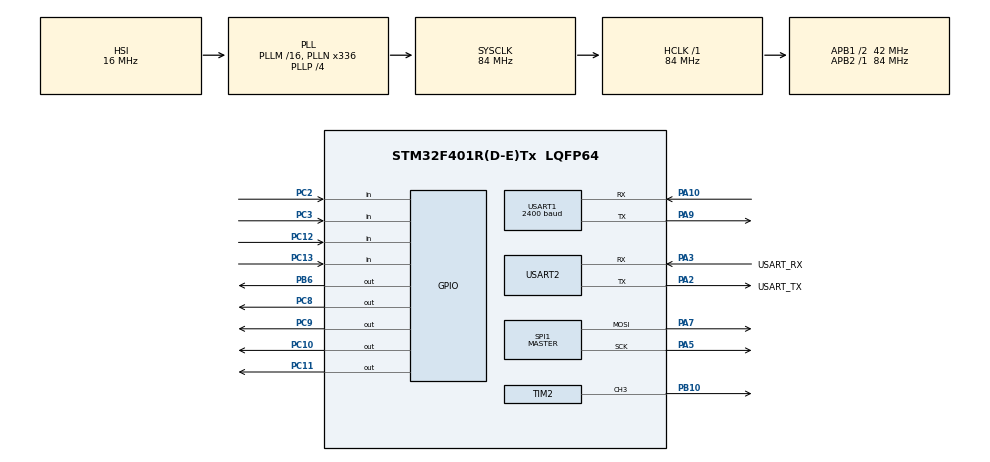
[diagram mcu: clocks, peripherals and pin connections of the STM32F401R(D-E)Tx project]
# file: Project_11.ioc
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Mcu.Family=STM32F4
Mcu.Name=STM32F401R(D-E)Tx
Mcu.Package=LQFP64
NVIC.PriorityGroup=NVIC_PRIORITYGROUP_0
NVIC.SPI1_IRQn=true\:0\:0\:false\:false\:true\:true\:true\:true
NVIC.TIM2_IRQn=true\:0\:0\:false\:false\:true\:true\:true\:true
NVIC.TIM3_IRQn=true\:0\:0\:false\:false\:true\:true\:true\:true
NVIC.TIM4_IRQn=true\:0\:0\:false\:false\:true\:true\:true\:true
NVIC.TIM5_IRQn=true\:0\:0\:false\:false\:true\:true\:true\:true
NVIC.USART1_IRQn=true\:0\:0\:false\:false\:true\:true\:true\:true
PA10.Mode=Asynchronous
PA10.Signal=USART1_RX
PA13.GPIO_Label=TMS
PA13.Mode=Serial_Wire
PA13.Signal=SYS_JTMS-SWDIO
PA14.GPIO_Label=TCK
PA14.Mode=Serial_Wire
PA14.Signal=SYS_JTCK-SWCLK
PA2.GPIO_Label=USART_TX
PA2.GPIO_Mode=GPIO_MODE_AF_PP
PA2.GPIO_PuPd=GPIO_NOPULL
PA2.GPIO_Speed=GPIO_SPEED_FREQ_LOW
PA2.Mode=Asynchronous
PA2.Signal=USART2_TX
PA3.GPIO_Label=USART_RX
PA3.GPIO_Mode=GPIO_MODE_AF_PP
PA3.GPIO_PuPd=GPIO_NOPULL
PA3.GPIO_Speed=GPIO_SPEED_FREQ_LOW
PA3.Mode=Asynchronous
PA3.Signal=USART2_RX
PA5.Mode=TX_Only_Simplex_Unidirect_Master
PA5.Signal=SPI1_SCK
PA7.Mode=TX_Only_Simplex_Unidirect_Master
PA7.Signal=SPI1_MOSI
PA9.Mode=Asynchronous
PA9.Signal=USART1_TX
PB10.Signal=S_TIM2_CH3
PB3.GPIO_Label=SWO
PB3.Signal=SYS_JTDO-SWO
PB6.Signal=GPIO_Output
PC10.Signal=GPIO_Output
PC11.Signal=GPIO_Output
PC12.Signal=GPIO_Input
PC13-ANTI_TAMP.Signal=GPIO_Input
PC14-OSC32_IN.Mode=LSE-External-Oscillator
PC14-OSC32_IN.Signal=RCC_OSC32_IN
PC15-OSC32_OUT.Mode=LSE-External-Oscillator
PC15-OSC32_OUT.Signal=RCC_OSC32_OUT
PC2.Signal=GPIO_Input
PC3.Signal=GPIO_Input
PC8.Signal=GPIO_Output
PC9.Signal=GPIO_Output
PH0\ -\ OSC_IN.Mode=HSE-External-Clock-Source
PH0\ -\ OSC_IN.Signal=RCC_OSC_IN
PH1\ -\ OSC_OUT.Mode=HSE-External-Clock-Source
PH1\ -\ OSC_OUT.Signal=RCC_OSC_OUT
ProjectManager.HeapSize=0x200
ProjectManager.StackSize=0x400
ProjectManager.TargetToolchain=STM32CubeIDE
RCC.48MHZClocksFreq_Value=48000000
RCC.AHBFreq_Value=84000000
RCC.APB1CLKDivider=RCC_HCLK_DIV2
RCC.APB1Freq_Value=42000000
RCC.APB1TimFreq_Value=84000000
RCC.APB2Freq_Value=84000000
RCC.APB2TimFreq_Value=84000000
RCC.CortexFreq_Value=84000000
RCC.HCLKFreq_Value=84000000
RCC.HSE_VALUE=8000000
RCC.HSI_VALUE=16000000
RCC.PLLN=336
RCC.PLLP=RCC_PLLP_DIV4
RCC.PLLQ=7
RCC.SYSCLKFreq_VALUE=84000000
RCC.SYSCLKSource=RCC_SYSCLKSOURCE_PLLCLK
RCC.VCOOutputFreq_Value=336000000
SH.S_TIM2_CH3.0=TIM2_CH3,PWM Generation3 CH3
SPI1.BaudRatePrescaler=SPI_BAUDRATEPRESCALER_4
SPI1.Direction=SPI_DIRECTION_2LINES
SPI1.Mode=SPI_MODE_MASTER
SPI1.VirtualType=VM_MASTER
TIM2.Channel-PWM\ Generation3\ CH3=TIM_CHANNEL_3
TIM2.Period=2209
TIM2.Pulse-PWM\ Generation3\ CH3=1104
TIM3.Period=999
TIM3.Prescaler=34
TIM4.Period=39
TIM4.Prescaler=8399
TIM5.Period=499
TIM5.Prescaler=839
USART1.BaudRate=2400
USART1.VirtualMode=VM_ASYNC
USART2.VirtualMode=VM_ASYNC
VP_TIM2_VS_ClockSourceINT.Mode=Internal
VP_TIM3_VS_ClockSourceINT.Mode=Internal
VP_TIM4_VS_ClockSourceINT.Mode=Internal
VP_TIM5_VS_ClockSourceINT.Mode=Internal
board=NUCLEO-F401RE

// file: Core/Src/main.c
/* USER CODE BEGIN Header */
/**
  ******************************************************************************
  * @file           : main.c
  * @brief          : Main program body
  ******************************************************************************
  * @attention
  *
  * Copyright (c) 2023 STMicroelectronics.
  * All rights reserved.
  *
  * This software is licensed under terms that can be found in the LICENSE file
  * in the root directory of this software component.
  * If no LICENSE file comes with this software, it is provided AS-IS.
  *
  ******************************************************************************
  */
/* USER CODE END Header */
#include "main.h"

/* USER CODE BEGIN Includes */
#define DIM_ROWS 4
#define DIM_COLS 4
#define DIM_STRING 100
#define DEBOUNCING_THRESHOLD 5
/* USER CODE END Includes */

SPI_HandleTypeDef hspi1;

TIM_HandleTypeDef htim2;
TIM_HandleTypeDef htim3;
TIM_HandleTypeDef htim4;
TIM_HandleTypeDef htim5;

UART_HandleTypeDef huart1;
UART_HandleTypeDef huart2;

/* USER CODE BEGIN PV */
//Receive buffer
uint8_t rx_buf;

//Index of columns and pointer to letter matrix
int led_matrix_column = 0;
uint8_t *matrix = NULL;

//Letters
uint8_t Zero[5][2] ={
	{62,16},
	{65,8},
	{65,4},
	{65,2},
	{62,1}
};

uint8_t One[5][2] ={
	{0,16},
	{17,8},
	{63,4},
	{127,2},
	{1,1}
};

uint8_t Two[5][2] ={
	{33,16},
	{67,8},
	{69,4},
	{73,2},
	{49,1}
};

uint8_t Three[5][2] ={
	{65,16},
	{73,8},
	{73,4},
	{73,2},
	{62,1}
};

uint8_t Four[5][2] ={
	{8,16},
	{24,8},
	{40,4},
	{127,2},
	{8,1}
};
uint8_t Five[5][2] ={
	{113,16},
	{81,8},
	{81,4},
	{81,2},
	{78,1}
};
uint8_t Six[5][2] ={
	{62,16},
	{73,8},
	{73,4},
	{73,2},
	{70,1}
};
uint8_t Seven[5][2] ={
	{64,16},
	{64,8},
	{72,4},
	{127,2},
	{8,1}
};
uint8_t Eight[5][2] ={
	{38,16},
	{89,8},
	{89,4},
	{89,2},
	{38,1}
};
uint8_t Nine[5][2] ={
	{49,16},
	{73,8},
	{73,4},
	{73,2},
	{62,1}
};
uint8_t a[5][2] ={
	{31,16},
	{36,8},
	{68,4},
	{36,2},
	{31,1}
};

uint8_t b[5][2] ={
	{127,16},
	{81,8},
	{81,4},
	{89,2},
	{38,1}
};
uint8_t c[5][2] ={
	{62,16},
	{65,8},
	{65,4},
	{65,2},
	{34,1}
};
uint8_t d[5][2] ={
	{127,16},
	{65,8},
	{65,4},
	{34,2},
	{28,1}
};
uint8_t e[5][2] ={
	{127,16},
	{73,8},
	{73,4},
	{73,2},
	{65,1}
};
uint8_t f[5][2] ={
	{127,16},
	{72,8},
	{72,4},
	{72,2},
	{64,1}
};
uint8_t clean[5][2] ={
	{0,16},
	{0,8},
	{0,4},
	{0,2},
	{0,1}
};
//Same as homework 9
// relative to GPIO_C
int rows[DIM_ROWS] = {GPIO_PIN_12, GPIO_PIN_13,GPIO_PIN_2, GPIO_PIN_3}; // to read from
// relative to GPIO_C
int cols[DIM_ROWS] = {GPIO_PIN_8,GPIO_PIN_9 , GPIO_PIN_10, GPIO_PIN_11}; // to write on

// out buffer
char str_buffer[DIM_STRING];
int str_buffer_len=0;

// History = 0: button not currently pressed since when I notice not pressed I set zero
// History > 1: button currently pressed since each time I press it I increment the value
// To avoid debouncing
uint16_t history[16];

// keep track of the last activated column (in previous timer callback)
int keybordCurrentColumn;

// where to store the last GPIO Read
uint16_t buttonState;

int bit;
int isEnd = 0;
int isStart = 0;
int byteToSend;
int i = 0;

/* USER CODE END PV */

void SystemClock_Config(void);
static void MX_GPIO_Init(void);
static void MX_USART2_UART_Init(void);
static void MX_SPI1_Init(void);
static void MX_TIM2_Init(void);
static void MX_USART1_UART_Init(void);
static void MX_TIM5_Init(void);
static void MX_TIM3_Init(void);
static void MX_TIM4_Init(void);
/* USER CODE BEGIN PFP */
void scanColumn();
int buttonValueFromRowColumn(int row, int column);
void sendButtonNumber(int number);
void IR_UART_Send(void);
/* USER CODE END PFP */

/* USER CODE BEGIN 0 */
int buttonValueFromRowColumn(int row, int column) {
	return row*DIM_COLS+column;
}

void scanColumn(){
	// Scan the rows for the currently active column: at the start, the column is zero
	for(int r=0; r<DIM_ROWS; r++){
		// Read the row
		buttonState = HAL_GPIO_ReadPin(GPIOC, rows[r]);

		// Update history
		if(buttonState==GPIO_PIN_RESET){
			history[buttonValueFromRowColumn(r, keybordCurrentColumn)]++;
		} else {
			history[buttonValueFromRowColumn(r, keybordCurrentColumn)] = 0;
		}

		// If button pressing history reached the DEBOUNCING_THRESHOLD, SEND IT
		if(history[buttonValueFromRowColumn(r, keybordCurrentColumn)]==DEBOUNCING_THRESHOLD) {
			sendButtonNumber(buttonValueFromRowColumn(r, keybordCurrentColumn));
		}
	}
	// Now turn down the currently active column
	HAL_GPIO_WritePin(GPIOC, cols[keybordCurrentColumn], GPIO_PIN_RESET);
	// Pass to the next column
	keybordCurrentColumn=(keybordCurrentColumn+1)%DIM_COLS;
	// Turn on the next column so that at the next interrupt it is ready for the rows scan
	HAL_GPIO_WritePin(GPIOC, cols[keybordCurrentColumn], GPIO_PIN_SET);
}

void sendButtonNumber(int number){
	// to print from 0 to F I print 0-15 in hex: %X
	//str_buffer_len = snprintf(str_buffer, DIM_STRING, "Button %X pressed\n\r", number);
	//HAL_UART_Transmit(&huart2, str_buffer, str_buffer_len, 50);

	// set the number to send, which is the bu
	byteToSend = number;
	// send byte
	isEnd = 0;
	isStart = 1;
	IR_UART_Send();

}
void IR_UART_Send(){
	HAL_TIM_Base_Start_IT(&htim3);
}

void HAL_TIM_PeriodElapsedCallback(TIM_HandleTypeDef* htim){

	//Receive
	if(htim==&htim4){
		// This is needed in order to point to the cell of the matrix row by row
		HAL_SPI_Transmit(&hspi1, matrix+2*led_matrix_column, 2,10);
		HAL_GPIO_WritePin(GPIOB, GPIO_PIN_6, GPIO_PIN_SET);
		if(++led_matrix_column>4){
			led_matrix_column = 0;
		}
		HAL_GPIO_WritePin(GPIOB, GPIO_PIN_6, GPIO_PIN_RESET);
	}

	//Send
	if(htim==&htim3){
		//if I'm not finishing sending
		if(isEnd == 0){
			//One = PWM_Start
			//Zero = PWM_Stop
			if(isStart == 1){
				HAL_TIM_PWM_Start(&htim2, TIM_CHANNEL_3);
				isStart = 0;
			}else if(bit == 0){
				//sending a 0
				HAL_TIM_PWM_Start(&htim2, TIM_CHANNEL_3);

			}else{
				//sending a 1
				HAL_TIM_PWM_Stop(&htim2, TIM_CHANNEL_3);
			}
		} else // end of the byte
		{
			HAL_TIM_PWM_Stop(&htim2, TIM_CHANNEL_3);
			HAL_TIM_Base_Stop_IT(&htim3);
		}

		if(i < 8 && isEnd==0){
			// Take the i-th bit from the byteFromRowColumn, by shifting the byteToSend i times and making sure it's a one or a zero
			bit = (byteToSend >> i)&1;
			i ++;
		}else if (i == 8){
			// No bit left to send to send
			i++;
		}else{ // If I am done say transmission is over and reset the counter
			isEnd = 1;
			i = 0;
		}
	}

	//Timer to scan columns
	if(htim==&htim5){
		scanColumn();
	}
}

void HAL_UART_RxCpltCallback(UART_HandleTypeDef* huart){

	// Choose the matrix that will be written in the HAL_TIM_PeriodElapsedCallback
	switch(rx_buf){
		case (0x0):
			matrix = (uint8_t*) Zero;
			break;
		case (0x1):
			matrix = (uint8_t*) One;
			break;
		case (0x2):
			matrix = (uint8_t*) Two;
			break;
		case (0x3):
			matrix = (uint8_t*) Three;
			break;
		case (0x4):
			matrix = (uint8_t*) Four;
			break;
		case (0x5):
			matrix = (uint8_t*) Five;
			break;
		case (0x6):
			matrix = (uint8_t*) Six;
			break;
		case (0x7):
			matrix = (uint8_t*) Seven;
			break;
		case (0x8):
			matrix = (uint8_t*) Eight;
			break;
		case (0x9):
			matrix = (uint8_t*) Nine;
			break;
		case (0xA):
			matrix = (uint8_t*) a;
			break;
		case (0xB):
			matrix = (uint8_t*) b;
			break;
		case (0xC):
			matrix = (uint8_t*) c;
			break;
		case (0xD):
			matrix = (uint8_t*) d;
			break;
		case (0xE):
			matrix = (uint8_t*) e;
			break;
		case (0xF):
			matrix = (uint8_t*) f;
			break;
		default:
			break;
		}

	HAL_UART_Receive_IT(&huart1, &rx_buf, sizeof(rx_buf));

}

/* USER CODE END 0 */

int main(void)
{

  /* MCU Configuration--------------------------------------------------------*/

  /* Reset of all peripherals, Initializes the Flash interface and the Systick. */
  HAL_Init();

  /* Configure the system clock */
  SystemClock_Config();

  /* Initialize all configured peripherals */
  MX_GPIO_Init();
  MX_USART2_UART_Init();
  MX_SPI1_Init();
  MX_TIM2_Init();
  MX_USART1_UART_Init();
  MX_TIM5_Init();
  MX_TIM3_Init();
  MX_TIM4_Init();
  /* USER CODE BEGIN 2 */
  // Clean the led matrix
  matrix=(uint8_t*)clean;
  HAL_TIM_Base_Start_IT(&htim4);
  HAL_TIM_Base_Start_IT(&htim5);
  HAL_UART_Receive_IT(&huart1, &rx_buf, sizeof(rx_buf));
  /* USER CODE END 2 */

  /* Infinite loop */
  while (1)
  {

  }
}

void SystemClock_Config(void)
{
  RCC_OscInitTypeDef RCC_OscInitStruct = {0};
  RCC_ClkInitTypeDef RCC_ClkInitStruct = {0};

  /** Configure the main internal regulator output voltage
  */
  __HAL_RCC_PWR_CLK_ENABLE();
  __HAL_PWR_VOLTAGESCALING_CONFIG(PWR_REGULATOR_VOLTAGE_SCALE2);

  /** Initializes the RCC Oscillators according to the specified parameters
  * in the RCC_OscInitTypeDef structure.
  */
  RCC_OscInitStruct.OscillatorType = RCC_OSCILLATORTYPE_HSI;
  RCC_OscInitStruct.HSIState = RCC_HSI_ON;
  RCC_OscInitStruct.HSICalibrationValue = RCC_HSICALIBRATION_DEFAULT;
  RCC_OscInitStruct.PLL.PLLState = RCC_PLL_ON;
  RCC_OscInitStruct.PLL.PLLSource = RCC_PLLSOURCE_HSI;
  RCC_OscInitStruct.PLL.PLLM = 16;
  RCC_OscInitStruct.PLL.PLLN = 336;
  RCC_OscInitStruct.PLL.PLLP = RCC_PLLP_DIV4;
  RCC_OscInitStruct.PLL.PLLQ = 7;
  if (HAL_RCC_OscConfig(&RCC_OscInitStruct) != HAL_OK)
  {
    Error_Handler();
  }

  /** Initializes the CPU, AHB and APB buses clocks
  */
  RCC_ClkInitStruct.ClockType = RCC_CLOCKTYPE_HCLK|RCC_CLOCKTYPE_SYSCLK
                              |RCC_CLOCKTYPE_PCLK1|RCC_CLOCKTYPE_PCLK2;
  RCC_ClkInitStruct.SYSCLKSource = RCC_SYSCLKSOURCE_PLLCLK;
  RCC_ClkInitStruct.AHBCLKDivider = RCC_SYSCLK_DIV1;
  RCC_ClkInitStruct.APB1CLKDivider = RCC_HCLK_DIV2;
  RCC_ClkInitStruct.APB2CLKDivider = RCC_HCLK_DIV1;

  if (HAL_RCC_ClockConfig(&RCC_ClkInitStruct, FLASH_LATENCY_2) != HAL_OK)
  {
    Error_Handler();
  }
}

static void MX_SPI1_Init(void)
{

  /* SPI1 parameter configuration*/
  hspi1.Instance = SPI1;
  hspi1.Init.Mode = SPI_MODE_MASTER;
  hspi1.Init.Direction = SPI_DIRECTION_2LINES;
  hspi1.Init.DataSize = SPI_DATASIZE_8BIT;
  hspi1.Init.CLKPolarity = SPI_POLARITY_LOW;
  hspi1.Init.CLKPhase = SPI_PHASE_1EDGE;
  hspi1.Init.NSS = SPI_NSS_SOFT;
  hspi1.Init.BaudRatePrescaler = SPI_BAUDRATEPRESCALER_4;
  hspi1.Init.FirstBit = SPI_FIRSTBIT_MSB;
  hspi1.Init.TIMode = SPI_TIMODE_DISABLE;
  hspi1.Init.CRCCalculation = SPI_CRCCALCULATION_DISABLE;
  hspi1.Init.CRCPolynomial = 10;
  if (HAL_SPI_Init(&hspi1) != HAL_OK)
  {
    Error_Handler();
  }

}

static void MX_TIM2_Init(void)
{

  TIM_ClockConfigTypeDef sClockSourceConfig = {0};
  TIM_MasterConfigTypeDef sMasterConfig = {0};
  TIM_OC_InitTypeDef sConfigOC = {0};

  htim2.Instance = TIM2;
  htim2.Init.Prescaler = 0;
  htim2.Init.CounterMode = TIM_COUNTERMODE_UP;
  htim2.Init.Period = 2209;
  htim2.Init.ClockDivision = TIM_CLOCKDIVISION_DIV1;
  htim2.Init.AutoReloadPreload = TIM_AUTORELOAD_PRELOAD_DISABLE;
  if (HAL_TIM_Base_Init(&htim2) != HAL_OK)
  {
    Error_Handler();
  }
  sClockSourceConfig.ClockSource = TIM_CLOCKSOURCE_INTERNAL;
  if (HAL_TIM_ConfigClockSource(&htim2, &sClockSourceConfig) != HAL_OK)
  {
    Error_Handler();
  }
  if (HAL_TIM_PWM_Init(&htim2) != HAL_OK)
  {
    Error_Handler();
  }
  sMasterConfig.MasterOutputTrigger = TIM_TRGO_RESET;
  sMasterConfig.MasterSlaveMode = TIM_MASTERSLAVEMODE_DISABLE;
  if (HAL_TIMEx_MasterConfigSynchronization(&htim2, &sMasterConfig) != HAL_OK)
  {
    Error_Handler();
  }
  sConfigOC.OCMode = TIM_OCMODE_PWM1;
  sConfigOC.Pulse = 1104;
  sConfigOC.OCPolarity = TIM_OCPOLARITY_HIGH;
  sConfigOC.OCFastMode = TIM_OCFAST_DISABLE;
  if (HAL_TIM_PWM_ConfigChannel(&htim2, &sConfigOC, TIM_CHANNEL_3) != HAL_OK)
  {
    Error_Handler();
  }
  HAL_TIM_MspPostInit(&htim2);

}

static void MX_TIM3_Init(void)
{

  TIM_ClockConfigTypeDef sClockSourceConfig = {0};
  TIM_MasterConfigTypeDef sMasterConfig = {0};

  htim3.Instance = TIM3;
  htim3.Init.Prescaler = 34;
  htim3.Init.CounterMode = TIM_COUNTERMODE_UP;
  htim3.Init.Period = 999;
  htim3.Init.ClockDivision = TIM_CLOCKDIVISION_DIV1;
  htim3.Init.AutoReloadPreload = TIM_AUTORELOAD_PRELOAD_DISABLE;
  if (HAL_TIM_Base_Init(&htim3) != HAL_OK)
  {
    Error_Handler();
  }
  sClockSourceConfig.ClockSource = TIM_CLOCKSOURCE_INTERNAL;
  if (HAL_TIM_ConfigClockSource(&htim3, &sClockSourceConfig) != HAL_OK)
  {
    Error_Handler();
  }
  sMasterConfig.MasterOutputTrigger = TIM_TRGO_RESET;
  sMasterConfig.MasterSlaveMode = TIM_MASTERSLAVEMODE_DISABLE;
  if (HAL_TIMEx_MasterConfigSynchronization(&htim3, &sMasterConfig) != HAL_OK)
  {
    Error_Handler();
  }

}

static void MX_TIM4_Init(void)
{

  TIM_ClockConfigTypeDef sClockSourceConfig = {0};
  TIM_MasterConfigTypeDef sMasterConfig = {0};

  htim4.Instance = TIM4;
  htim4.Init.Prescaler = 8399;
  htim4.Init.CounterMode = TIM_COUNTERMODE_UP;
  htim4.Init.Period = 39;
  htim4.Init.ClockDivision = TIM_CLOCKDIVISION_DIV1;
  htim4.Init.AutoReloadPreload = TIM_AUTORELOAD_PRELOAD_DISABLE;
  if (HAL_TIM_Base_Init(&htim4) != HAL_OK)
  {
    Error_Handler();
  }
  sClockSourceConfig.ClockSource = TIM_CLOCKSOURCE_INTERNAL;
  if (HAL_TIM_ConfigClockSource(&htim4, &sClockSourceConfig) != HAL_OK)
  {
    Error_Handler();
  }
  sMasterConfig.MasterOutputTrigger = TIM_TRGO_RESET;
  sMasterConfig.MasterSlaveMode = TIM_MASTERSLAVEMODE_DISABLE;
  if (HAL_TIMEx_MasterConfigSynchronization(&htim4, &sMasterConfig) != HAL_OK)
  {
    Error_Handler();
  }

}

static void MX_TIM5_Init(void)
{

  TIM_ClockConfigTypeDef sClockSourceConfig = {0};
  TIM_MasterConfigTypeDef sMasterConfig = {0};

  htim5.Instance = TIM5;
  htim5.Init.Prescaler = 839;
  htim5.Init.CounterMode = TIM_COUNTERMODE_UP;
  htim5.Init.Period = 499;
  htim5.Init.ClockDivision = TIM_CLOCKDIVISION_DIV1;
  htim5.Init.AutoReloadPreload = TIM_AUTORELOAD_PRELOAD_DISABLE;
  if (HAL_TIM_Base_Init(&htim5) != HAL_OK)
  {
    Error_Handler();
  }
  sClockSourceConfig.ClockSource = TIM_CLOCKSOURCE_INTERNAL;
  if (HAL_TIM_ConfigClockSource(&htim5, &sClockSourceConfig) != HAL_OK)
  {
    Error_Handler();
  }
  sMasterConfig.MasterOutputTrigger = TIM_TRGO_RESET;
  sMasterConfig.MasterSlaveMode = TIM_MASTERSLAVEMODE_DISABLE;
  if (HAL_TIMEx_MasterConfigSynchronization(&htim5, &sMasterConfig) != HAL_OK)
  {
    Error_Handler();
  }

}

static void MX_USART1_UART_Init(void)
{

  huart1.Instance = USART1;
  huart1.Init.BaudRate = 2400;
  huart1.Init.WordLength = UART_WORDLENGTH_8B;
  huart1.Init.StopBits = UART_STOPBITS_1;
  huart1.Init.Parity = UART_PARITY_NONE;
  huart1.Init.Mode = UART_MODE_TX_RX;
  huart1.Init.HwFlowCtl = UART_HWCONTROL_NONE;
  huart1.Init.OverSampling = UART_OVERSAMPLING_16;
  if (HAL_UART_Init(&huart1) != HAL_OK)
  {
    Error_Handler();
  }

}

static void MX_USART2_UART_Init(void)
{

  huart2.Instance = USART2;
  huart2.Init.BaudRate = 115200;
  huart2.Init.WordLength = UART_WORDLENGTH_8B;
  huart2.Init.StopBits = UART_STOPBITS_1;
  huart2.Init.Parity = UART_PARITY_NONE;
  huart2.Init.Mode = UART_MODE_TX_RX;
  huart2.Init.HwFlowCtl = UART_HWCONTROL_NONE;
  huart2.Init.OverSampling = UART_OVERSAMPLING_16;
  if (HAL_UART_Init(&huart2) != HAL_OK)
  {
    Error_Handler();
  }

}

static void MX_GPIO_Init(void)
{
  GPIO_InitTypeDef GPIO_InitStruct = {0};

  /* GPIO Ports Clock Enable */
  __HAL_RCC_GPIOC_CLK_ENABLE();
  __HAL_RCC_GPIOH_CLK_ENABLE();
  __HAL_RCC_GPIOA_CLK_ENABLE();
  __HAL_RCC_GPIOB_CLK_ENABLE();

  /*Configure GPIO pin Output Level */
  HAL_GPIO_WritePin(GPIOC, GPIO_PIN_8|GPIO_PIN_9|GPIO_PIN_10|GPIO_PIN_11, GPIO_PIN_RESET);

  /*Configure GPIO pin Output Level */
  HAL_GPIO_WritePin(GPIOB, GPIO_PIN_6, GPIO_PIN_RESET);

  /*Configure GPIO pins : PC13 PC2 PC3 PC12 */
  GPIO_InitStruct.Pin = GPIO_PIN_13|GPIO_PIN_2|GPIO_PIN_3|GPIO_PIN_12;
  GPIO_InitStruct.Mode = GPIO_MODE_INPUT;
  GPIO_InitStruct.Pull = GPIO_NOPULL;
  HAL_GPIO_Init(GPIOC, &GPIO_InitStruct);

  /*Configure GPIO pins : PC8 PC9 PC10 PC11 */
  GPIO_InitStruct.Pin = GPIO_PIN_8|GPIO_PIN_9|GPIO_PIN_10|GPIO_PIN_11;
  GPIO_InitStruct.Mode = GPIO_MODE_OUTPUT_PP;
  GPIO_InitStruct.Pull = GPIO_NOPULL;
  GPIO_InitStruct.Speed = GPIO_SPEED_FREQ_LOW;
  HAL_GPIO_Init(GPIOC, &GPIO_InitStruct);

  /*Configure GPIO pin : PB6 */
  GPIO_InitStruct.Pin = GPIO_PIN_6;
  GPIO_InitStruct.Mode = GPIO_MODE_OUTPUT_PP;
  GPIO_InitStruct.Pull = GPIO_NOPULL;
  GPIO_InitStruct.Speed = GPIO_SPEED_FREQ_LOW;
  HAL_GPIO_Init(GPIOB, &GPIO_InitStruct);

}

void Error_Handler(void)
{
  __disable_irq();
  while (1)
  {
  }
}
